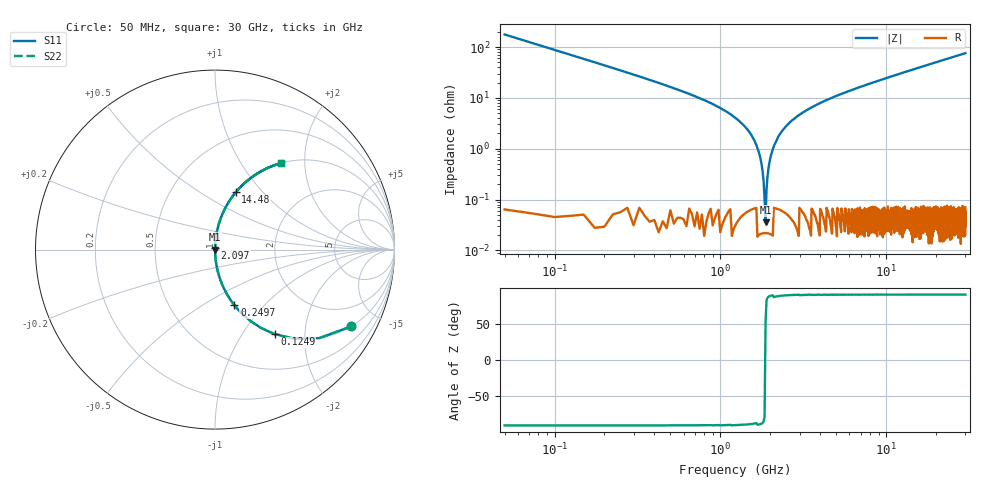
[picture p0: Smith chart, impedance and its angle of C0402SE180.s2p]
!	AVX Thin Film Operation 	Date: April 2014
!	Description: Accu-P® Series, Thin Film  SMD RF Capacitor
!	Part Number: 04023K180FBSTR
# MHZ S MA R 50
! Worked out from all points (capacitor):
!   1201 points, 50 MHz to 30 GHz, reference 50 ohm
!   read as one part in series: C = 18 pF near 199.8 MHz
!   lowest |Z| = 35.7 mohm at 1.872 GHz (marker M1)
!   series resonance near 1.866 GHz, so ESL is about 400 pH
!   S11 on the Smith chart (normalised r, x): 50 MHz: 1.00, -3.53; 124.9 MHz: 1.00, -1.41; 249.7 MHz: 1.00, -0.69; 2.097 GHz: 1.00, +0.02; 14.48 GHz: 1.00, +0.72; 30 GHz: 1.00, +1.52
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50  0.87 -29.5  0.492 60.5  0.492 60.5  0.87 -29.5
124.875  0.576 -54.8  0.817 35.2  0.817 35.2  0.576 -54.8
249.667  0.328 -70.8  0.944 19.2  0.944 19.2  0.328 -70.8
374.458  0.221 -77.1  0.975 12.8  0.975 12.8  0.221 -77.1
624.042  0.125 -82.6  0.992 7.2  0.992 7.2  0.125 -82.6
1447.667  0.024 -87.6  0.999 1.4  0.999 1.4  0.024 -87.6
1622.375  0.013 -87.3  0.999 0.8  0.999 0.8  0.013 -87.3
1772.125  0.004928 -84.6  1 0.3  1 0.3  0.004928 -84.6
1871.958  0.0005237 32.8  1 -0.0  1 -0.0  0.0005237 32.8
1971.792  0.005226 84.9  1 -0.3  1 -0.3  0.005226 84.9
2096.583  0.011 87.1  0.999 -0.6  0.999 -0.6  0.011 87.1
2221.375  0.017 87.5  0.999 -0.9  0.999 -0.9  0.017 87.5
2396.083  0.024 87.6  0.999 -1.4  0.999 -1.4  0.024 87.6
2970.125  0.046 86.8  0.999 -2.6  0.999 -2.6  0.046 86.8
3793.75  0.073 85.5  0.997 -4.2  0.997 -4.2  0.073 85.5
5041.667  0.11 83.5  0.994 -6.3  0.994 -6.3  0.11 83.5
10058.29  0.239 76.1  0.971 -13.8  0.971 -13.8  0.239 76.1
14475.92  0.34 70.1  0.94 -19.9  0.94 -19.9  0.34 70.1
15025  0.351 69.4  0.936 -20.6  0.936 -20.6  0.351 69.4
20016.67  0.45 63.2  0.893 -26.7  0.893 -26.7  0.45 63.2
25033.29  0.534 57.7  0.845 -32.3  0.845 -32.3  0.534 57.7
30000  0.604 52.8  0.796 -37.2  0.796 -37.2  0.604 52.8
